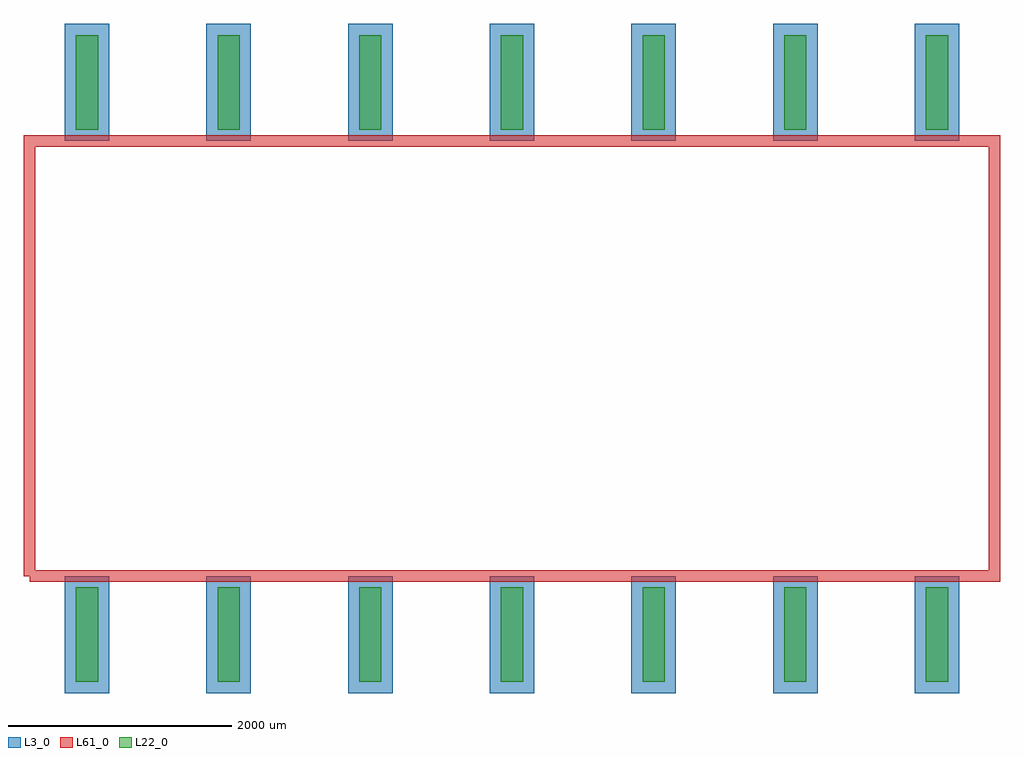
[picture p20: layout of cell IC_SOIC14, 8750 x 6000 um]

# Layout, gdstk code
import gdstk
lib = gdstk.Library(unit=1e-6, precision=1e-09)
def R(c, l, rs):  # rectangles x0, y0, x1, y1
    for r in rs: c.add(gdstk.rectangle(r[:2], r[2:], *l))
def A(c, l, x, y, w, h, nx, ny, dx, dy):  # array of equal rectangles
    R(c, l, [(x+i*dx, y+j*dy, x+i*dx+w, y+j*dy+h) for i in range(nx) for j in range(ny)])
L3_0 = (3, 0)
L22_0 = (22, 0)
L61_0 = (61, 0)

ic_soic14 = lib.new_cell('IC_SOIC14')
A(ic_soic14, L3_0, -4010, -3000, 400, 1050, 7, 2, 1270, 4950)
A(ic_soic14, L22_0, -3910, -2900, 200, 850, 7, 2, 1270, 4950)
ic_soic14.add(gdstk.FlexPath([(-4325,-1950),(4325,-1950),(4325,1950),(-4325,1950),(-4325,-1950)], 100, ends="flush", simple_path=True, layer=61, datatype=0))  # L61_0

lib.write_gds('IC_SOIC14.gds')
